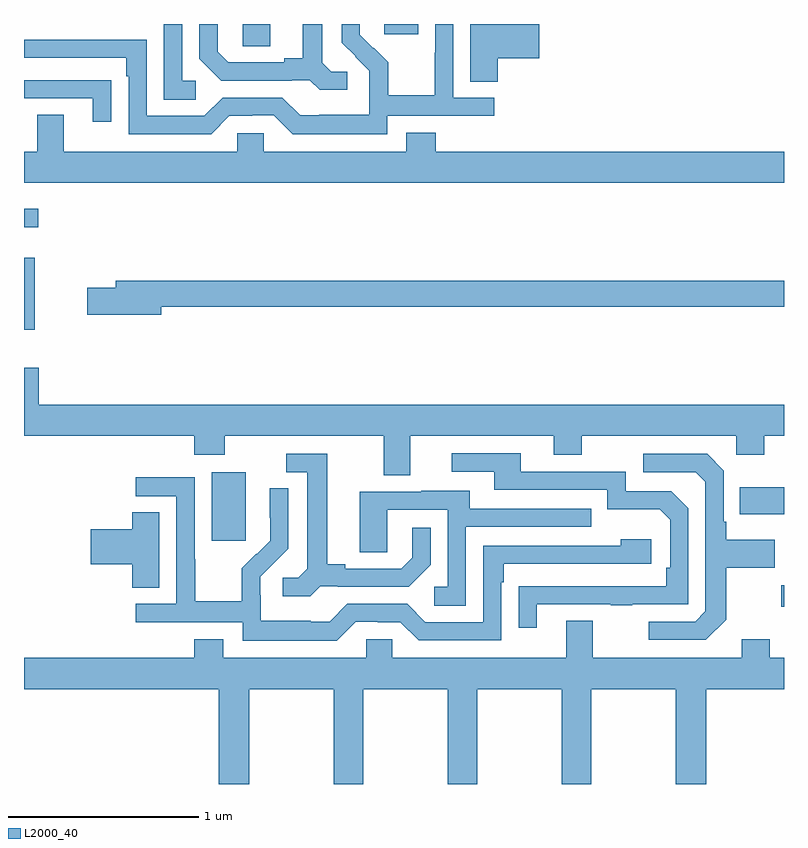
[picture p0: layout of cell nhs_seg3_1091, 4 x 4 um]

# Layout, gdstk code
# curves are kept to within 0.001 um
import gdstk
lib = gdstk.Library(unit=1e-6, precision=1e-09)
def R(c, l, rs):  # rectangles x0, y0, x1, y1
    for r in rs: c.add(gdstk.rectangle(r[:2], r[2:], *l))
def P(c, l, *ps):  # polygons
    for p in ps: c.add(gdstk.Polygon(p, *l))
L2000_40 = (2000, 40)

nhs_seg3_1091 = lib.new_cell('nhs_seg3_1091')
R(nhs_seg3_1091, L2000_40, [(170.985,717.333,171,717.446), (167.987,717.681,168.166,718.042), (170.767,717.821,171,717.961), (167,718.79,167.056,719.17), (167,719.331,167.074,719.428), (168.15,720.283,168.295,720.4), (168.896,720.345,169.075,720.4)])
P(nhs_seg3_1091, L2000_40, [(168.912,719.916),(169.474,719.916),(169.474,720.012),(169.26,720.012),(169.26,720.4),(169.164,720.4),(169.164,720.248),(169.162,720.248),(169.162,720.025),(168.917,720.025),(168.917,720.199),(168.84,720.276),(168.837,720.273),(168.767,720.344),(168.767,720.4),(168.672,720.4),(168.672,720.302),(168.818,720.154),(168.818,720.057),(168.816,720.057),(168.816,719.923),(168.553,719.923),(168.553,719.919),(168.453,719.919),(168.36,720.012),(168.045,720.012),(167.949,719.916),(167.646,719.916),(167.646,720.318),(167,720.318),(167,720.222),(167.537,720.222),(167.537,720.125),(167.55,720.125),(167.55,719.82),(167.985,719.82),(168.081,719.916),(168.2,719.916),(168.2,719.919),(168.315,719.919),(168.415,719.819),(168.912,719.819)],
  [(167.905,720.102),(167.832,720.102),(167.832,720.4),(167.736,720.4),(167.736,720.001),(167.905,720.001)],
  [(169.493,720.221),(169.711,720.221),(169.711,720.4),(169.349,720.4),(169.349,720.097),(169.493,720.097)],
  [(168.7,720.15),(168.618,720.15),(168.571,720.197),(168.571,720.4),(168.467,720.4),(168.467,720.221),(168.371,720.221),(168.371,720.198),(168.076,720.198),(168.019,720.255),(168.019,720.4),(167.922,720.4),(167.922,720.218),(168.038,720.102),(168.41,720.102),(168.41,720.105),(168.504,720.105),(168.556,720.053),(168.7,720.053)],
  [(167.459,720.104),(167.357,720.104),(167.357,720.105),(167,720.105),(167,720.009),(167.363,720.009),(167.363,719.886),(167.459,719.886)],
  [(171,719.728),(169.166,719.728),(169.166,719.827),(169.013,719.827),(169.013,719.728),(168.261,719.728),(168.261,719.826),(168.123,719.826),(168.123,719.728),(167.209,719.728),(167.209,719.923),(167.069,719.923),(167.069,719.728),(167,719.728),(167,719.564),(171,719.564)],
  [(167.722,718.912),(171,718.912),(171,719.048),(167.483,719.048),(167.483,719.012),(167.334,719.012),(167.334,718.87),(167.722,718.87)],
  [(169.033,718.232),(169.787,718.232),(169.787,718.133),(169.935,718.133),(169.935,718.232),(170.748,718.232),(170.748,718.133),(170.895,718.133),(170.895,718.232),(171,718.232),(171,718.396),(167.078,718.396),(167.078,718.591),(167,718.591),(167,718.232),(167.897,718.232),(167.897,718.133),(168.057,718.133),(168.057,718.232),(168.893,718.232),(168.893,718.024),(169.033,718.024)],
  [(169.699,717.345),(170.089,717.345),(170.089,717.34),(170.201,717.34),(170.201,717.345),(170.496,717.345),(170.496,717.852),(170.406,717.942),(170.166,717.942),(170.166,718.044),(169.615,718.044),(169.615,718.14),(169.251,718.14),(169.251,718.044),(169.475,718.044),(169.475,717.948),(170.07,717.948),(170.07,717.845),(170.347,717.845),(170.4,717.792),(170.4,717.538),(170.38,717.538),(170.38,717.441),(169.603,717.44),(169.603,717.222),(169.699,717.222)],
  [(168.558,717.441),(168.652,717.441),(168.652,717.438),(169.024,717.438),(169.14,717.554),(169.14,717.748),(169.043,717.748),(169.043,717.591),(168.986,717.534),(168.691,717.534),(168.691,717.557),(168.595,717.557),(168.595,718.137),(168.381,718.137),(168.381,718.041),(168.491,718.041),(168.491,717.533),(168.444,717.486),(168.363,717.486),(168.363,717.389),(168.506,717.389)],
  [(170.695,717.265),(170.695,717.538),(170.951,717.538),(170.951,717.685),(170.695,717.685),(170.695,717.781),(170.682,717.781),(170.682,718.05),(170.595,718.137),(170.259,718.137),(170.259,718.041),(170.535,718.041),(170.586,717.99),(170.586,717.309),(170.532,717.255),(170.289,717.255),(170.289,717.159),(170.589,717.159)],
  [(168.747,717.255),(168.863,717.255),(168.863,717.252),(168.981,717.252),(169.077,717.156),(169.512,717.156),(169.512,717.461),(169.525,717.461),(169.525,717.558),(170.302,717.558),(170.302,717.688),(170.141,717.688),(170.141,717.654),(169.416,717.654),(169.416,717.252),(169.113,717.252),(169.017,717.348),(168.702,717.348),(168.609,717.255),(168.509,717.255),(168.509,717.259),(168.246,717.259),(168.246,717.393),(168.244,717.393),(168.244,717.49),(168.39,717.638),(168.39,717.956),(168.294,717.956),(168.294,717.802),(168.296,717.802),(168.296,717.68),(168.225,717.609),(168.222,717.612),(168.145,717.535),(168.145,717.361),(167.901,717.361),(167.901,717.584),(167.898,717.584),(167.898,718.014),(167.589,718.014),(167.589,717.915),(167.802,717.915),(167.802,717.348),(167.589,717.348),(167.589,717.252),(168.15,717.252),(168.15,717.155),(168.647,717.155)],
  [(169.326,717.753),(169.985,717.753),(169.985,717.849),(169.345,717.849),(169.345,717.943),(169.091,717.943),(169.091,717.939),(168.767,717.939),(168.767,717.619),(168.912,717.619),(168.912,717.843),(169.23,717.843),(169.23,717.438),(169.158,717.438),(169.158,717.337),(169.326,717.337)],
  [(167.713,717.83),(167.57,717.83),(167.57,717.74),(167.352,717.74),(167.352,717.557),(167.57,717.557),(167.57,717.433),(167.713,717.433)],
  [(168.186,716.9),(168.631,716.9),(168.631,716.4),(168.786,716.4),(168.786,716.9),(169.231,716.9),(169.231,716.4),(169.386,716.4),(169.386,716.9),(169.831,716.9),(169.831,716.4),(169.986,716.4),(169.986,716.9),(170.431,716.9),(170.431,716.4),(170.591,716.4),(170.591,716.9),(171,716.9),(171,717.064),(170.925,717.064),(170.925,717.163),(170.777,717.163),(170.777,717.064),(169.993,717.064),(169.993,717.259),(169.853,717.259),(169.853,717.064),(168.939,717.064),(168.939,717.162),(168.801,717.162),(168.801,717.064),(168.049,717.064),(168.049,717.163),(167.897,717.163),(167.897,717.064),(167,717.064),(167,716.9),(168.026,716.9),(168.026,716.4),(168.186,716.4)])

lib.write_gds('nhs_seg3_1091.gds')
